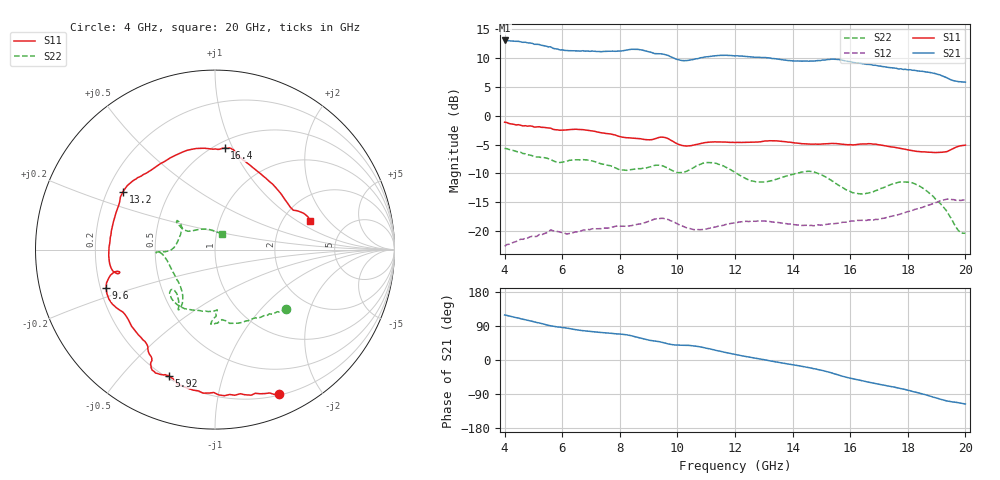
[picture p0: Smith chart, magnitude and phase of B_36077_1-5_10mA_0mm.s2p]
!Agilent Technologies,E8364A,US41440284,A.06.04.32
!Agilent E8364A: A.06.04.32
!Date: Wednesday, May 24, 2023 11:06:48
!Correction: S11(Full 2 Port(1,2)) S21(Full 2 Port(1,2)) S12(Full 2 Port(1,2)) S22(Full 2 Port(1,2))
!S2P File: Measurements: S11, S21, S12, S22:
# Hz S  RI  R 50
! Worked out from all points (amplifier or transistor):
!   201 points, 4 GHz to 20 GHz, reference 50 ohm
!   highest |S21| = 13.1 dB at 4 GHz (marker M1)
!   |S21| within 3 dB of that: start of sweep to 9.849 GHz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
!   unconditionally stable (mu >= 1): 10.26 GHz to 10.52 GHz; 16.1 GHz to 16.2 GHz; 16.92 GHz to end of sweep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
!   at 6.64 GHz: K = 0.49, MSG = 15.6 dB, |S12| = -20.0 dB
!   at 12 GHz: K = 0.85, MSG = 14.5 dB, |S12| = -18.6 dB
!   at 20 GHz: K = 1.07, MAG = 8.6 dB, |S12| = -14.6 dB
!   S11 on the Smith chart (normalised r, x): 4 GHz: 0.22, -1.51; 5.92 GHz: 0.21, -0.68; 9.6 GHz: 0.22, -0.16; 13.2 GHz: 0.26, +0.27; 16.4 GHz: 0.56, +0.93; 20 GHz: 2.82, +1.31
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4e9  0.3546 -0.8036  -2.164 3.946  0.0494 0.0547  0.3981 -0.3329
4.88e9  0.0521 -0.814  -0.9891 4.168  0.0692 0.0556  0.2547 -0.377
5.52e9  -0.1786 -0.7618  -0.0911 3.959  0.0844 0.05  0.1056 -0.4102
5.92e9  -0.2583 -0.7016  0.2097 3.719  0.09 0.038  0.0388 -0.3901
6.72e9  -0.3509 -0.6707  0.7992 3.578  0.098 0.0273  -0.0237 -0.4148
8e9  -0.3739 -0.5423  1.328 3.387  0.109 0.0139  0.0123 -0.3388
8.4e9  -0.4132 -0.4887  1.656 3.391  0.1105 0.0116  -0.00132 -0.3407
8.8e9  -0.4751 -0.4061  2.066 3.074  0.1168 0.00762  -0.07 -0.343
9.36e9  -0.5721 -0.3035  2.281 2.582  0.1272 -0.0117  -0.2116 -0.3056
9.6e9  -0.6069 -0.2147  2.421 2.355  0.1242 -0.0242  -0.2483 -0.2564
9.92e9  -0.568 -0.1302  2.408 1.993  0.1125 -0.0363  -0.2388 -0.2216
1.04e10  -0.5321 -0.1299  2.369 1.887  0.0985 -0.0377  -0.2065 -0.2665
1.096e10  -0.5735 -0.1125  2.745 1.718  0.0971 -0.035  -0.2058 -0.3322
1.2e10  -0.5795 0.0837  3.194 0.8489  0.1073 -0.0493  -0.1795 -0.2675
1.32e10  -0.5133 0.3227  3.169 -0.1142  0.0919 -0.0782  -0.2605 -0.0726
1.472e10  -0.3177 0.4689  2.745 -1.149  0.057 -0.0951  -0.3264 -0.0139
1.536e10  -0.155 0.5534  2.567 -1.737  0.0403 -0.1091  -0.2728 -0.0104
1.64e10  0.0546 0.5655  1.647 -2.313  0.0039 -0.1236  -0.1958 0.0744
1.736e10  0.1283 0.5244  0.9352 -2.447  -0.0315 -0.1289  -0.1976 0.152
1.872e10  0.3534 0.3278  -0.1741 -2.379  -0.1051 -0.1307  -0.181 0.1176
1.936e10  0.4363 0.2194  -0.6661 -2.021  -0.1535 -0.1096  -0.0969 0.1111
2e10  0.5318 0.1601  -0.8606 -1.755  -0.169 -0.0805  0.0365 0.0882
